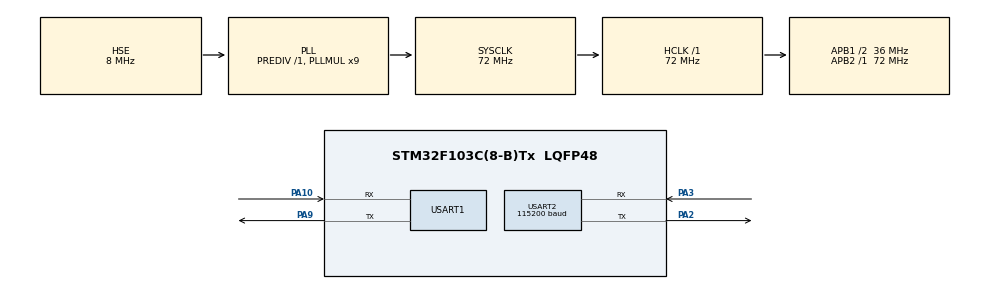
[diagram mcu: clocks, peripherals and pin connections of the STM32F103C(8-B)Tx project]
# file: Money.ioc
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Dma.Request0=USART1_RX
Dma.Request1=USART1_TX
Dma.Request2=USART2_TX
Dma.Request3=USART2_RX
Dma.USART1_RX.0.Direction=DMA_PERIPH_TO_MEMORY
Dma.USART1_RX.0.Instance=DMA1_Channel5
Dma.USART1_RX.0.MemDataAlignment=DMA_MDATAALIGN_BYTE
Dma.USART1_RX.0.MemInc=DMA_MINC_ENABLE
Dma.USART1_RX.0.Mode=DMA_CIRCULAR
Dma.USART1_RX.0.PeriphDataAlignment=DMA_PDATAALIGN_BYTE
Dma.USART1_RX.0.PeriphInc=DMA_PINC_DISABLE
Dma.USART1_RX.0.Priority=DMA_PRIORITY_LOW
Dma.USART1_TX.1.Direction=DMA_MEMORY_TO_PERIPH
Dma.USART1_TX.1.Instance=DMA1_Channel4
Dma.USART1_TX.1.MemDataAlignment=DMA_MDATAALIGN_BYTE
Dma.USART1_TX.1.MemInc=DMA_MINC_ENABLE
Dma.USART1_TX.1.Mode=DMA_CIRCULAR
Dma.USART1_TX.1.PeriphDataAlignment=DMA_PDATAALIGN_BYTE
Dma.USART1_TX.1.PeriphInc=DMA_PINC_DISABLE
Dma.USART1_TX.1.Priority=DMA_PRIORITY_LOW
Dma.USART2_RX.3.Direction=DMA_PERIPH_TO_MEMORY
Dma.USART2_RX.3.Instance=DMA1_Channel6
Dma.USART2_RX.3.MemDataAlignment=DMA_MDATAALIGN_BYTE
Dma.USART2_RX.3.MemInc=DMA_MINC_ENABLE
Dma.USART2_RX.3.Mode=DMA_CIRCULAR
Dma.USART2_RX.3.PeriphDataAlignment=DMA_PDATAALIGN_BYTE
Dma.USART2_RX.3.PeriphInc=DMA_PINC_DISABLE
Dma.USART2_RX.3.Priority=DMA_PRIORITY_LOW
Dma.USART2_TX.2.Direction=DMA_MEMORY_TO_PERIPH
Dma.USART2_TX.2.Instance=DMA1_Channel7
Dma.USART2_TX.2.MemDataAlignment=DMA_MDATAALIGN_BYTE
Dma.USART2_TX.2.MemInc=DMA_MINC_ENABLE
Dma.USART2_TX.2.Mode=DMA_CIRCULAR
Dma.USART2_TX.2.PeriphDataAlignment=DMA_PDATAALIGN_BYTE
Dma.USART2_TX.2.PeriphInc=DMA_PINC_DISABLE
Dma.USART2_TX.2.Priority=DMA_PRIORITY_LOW
Mcu.Family=STM32F1
Mcu.Name=STM32F103C(8-B)Tx
Mcu.Package=LQFP48
NVIC.DMA1_Channel4_IRQn=true\:2\:0\:true\:false\:true\:false\:true\:true
NVIC.DMA1_Channel5_IRQn=true\:3\:0\:true\:false\:true\:false\:true\:true
NVIC.DMA1_Channel6_IRQn=true\:2\:0\:true\:false\:true\:false\:true\:true
NVIC.DMA1_Channel7_IRQn=true\:3\:0\:true\:false\:true\:false\:true\:true
NVIC.PriorityGroup=NVIC_PRIORITYGROUP_4
NVIC.USART1_IRQn=true\:0\:0\:false\:false\:true\:true\:true\:true
NVIC.USART2_IRQn=true\:0\:0\:false\:false\:true\:true\:true\:true
PA10.GPIO_PuPd=GPIO_PULLUP
PA10.Mode=Asynchronous
PA10.Signal=USART1_RX
PA13.Mode=Serial_Wire
PA13.Signal=SYS_JTMS-SWDIO
PA14.Mode=Serial_Wire
PA14.Signal=SYS_JTCK-SWCLK
PA2.Mode=Asynchronous
PA2.Signal=USART2_TX
PA3.GPIO_PuPd=GPIO_PULLUP
PA3.Mode=Asynchronous
PA3.Signal=USART2_RX
PA9.Mode=Asynchronous
PA9.Signal=USART1_TX
PD0-OSC_IN.Mode=HSE-External-Oscillator
PD0-OSC_IN.Signal=RCC_OSC_IN
PD1-OSC_OUT.Mode=HSE-External-Oscillator
PD1-OSC_OUT.Signal=RCC_OSC_OUT
ProjectManager.HeapSize=0x200
ProjectManager.StackSize=0x400
ProjectManager.TargetToolchain=MDK-ARM V5.32
RCC.AHBFreq_Value=72000000
RCC.APB1CLKDivider=RCC_HCLK_DIV2
RCC.APB1Freq_Value=36000000
RCC.APB1TimFreq_Value=72000000
RCC.APB2Freq_Value=72000000
RCC.APB2TimFreq_Value=72000000
RCC.HCLKFreq_Value=72000000
RCC.PLLMUL=RCC_PLL_MUL9
RCC.PLLSourceVirtual=RCC_PLLSOURCE_HSE
RCC.SYSCLKFreq_VALUE=72000000
RCC.SYSCLKSource=RCC_SYSCLKSOURCE_PLLCLK
RCC.USBFreq_Value=72000000
USART1.VirtualMode=VM_ASYNC
USART2.BaudRate=115200
USART2.VirtualMode=VM_ASYNC
board=custom

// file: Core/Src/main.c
/* USER CODE BEGIN Header */
/**
 ******************************************************************************
 * @file           : main.c
 * @brief          : Main program body
 ******************************************************************************
 * @attention
 *
 * Copyright (c) 2025 STMicroelectronics.
 * All rights reserved.
 *
 * This software is licensed under terms that can be found in the LICENSE file
 * in the root directory of this software component.
 * If no LICENSE file comes with this software, it is provided AS-IS.
 *
 ******************************************************************************
 */
/* USER CODE END Header */
#include "main.h"

/* USER CODE BEGIN Includes */
#include "ano_protocol.h"
#include "mavlink_parser.h"
#include "protocol_bridge.h"

/* USER CODE END Includes */

UART_HandleTypeDef huart1;
UART_HandleTypeDef huart2;
DMA_HandleTypeDef hdma_usart1_rx;
DMA_HandleTypeDef hdma_usart1_tx;
DMA_HandleTypeDef hdma_usart2_tx;
DMA_HandleTypeDef hdma_usart2_rx;

/* USER CODE BEGIN PV */
/* MAVLINK Parser */
mavlink_parser_t mavlink_parser;
float global_height_cm = 0.0f;
/* DMA Receive Buffer for USART2 (MAVLINK input from optical flow sensor) */
uint8_t mavlink_rx_buffer[MAVLINK_RX_BUFFER_SIZE];
volatile uint16_t mavlink_rx_read_pos = 0;
volatile uint8_t a = 0;

/* Data ready flags */
volatile uint8_t optical_flow_data_ready = 0;
volatile uint8_t distance_data_ready = 0;
float current_height_cm = 0.0f;
/* USER CODE END PV */

void SystemClock_Config(void);
static void MX_GPIO_Init(void);
static void MX_DMA_Init(void);
static void MX_USART1_UART_Init(void);
static void MX_USART2_UART_Init(void);

int main(void) {

  /* MCU Configuration--------------------------------------------------------*/

  /* Reset of all peripherals, Initializes the Flash interface and the Systick.
   */
  HAL_Init();

  /* Configure the system clock */
  SystemClock_Config();

  /* Initialize all configured peripherals */
  MX_GPIO_Init();
  MX_DMA_Init();
  MX_USART1_UART_Init();
  MX_USART2_UART_Init();
  /* USER CODE BEGIN 2 */

  /* Initialize MAVLINK parser */
  mavlink_parser_init(&mavlink_parser);

  /* Start DMA reception with IDLE interrupt on USART2 */
  HAL_UARTEx_ReceiveToIdle_DMA(&huart2, mavlink_rx_buffer,
                               MAVLINK_RX_BUFFER_SIZE);
  /* Disable DMA Half Transfer interrupt (only use Transfer Complete + IDLE) */
  __HAL_DMA_DISABLE_IT(&hdma_usart2_rx, DMA_IT_HT);

  /* USER CODE END 2 */

  /* Infinite loop */
  while (1) {

    /* USER CODE BEGIN 3 */

    // ---------------------------------------------------------
    // 1. 异步接收测距数据 (仅更新变量，不发送)
    // ---------------------------------------------------------
    if (distance_data_ready) {
      mavlink_distance_sensor_t dist_msg;
      if (mavlink_get_distance(&mavlink_parser, &dist_msg)) {
        global_height_cm = (float)dist_msg.current_distance;
      }
      distance_data_ready = 0;
    }

    // ---------------------------------------------------------
    // 2. 接收到光流数据 -> 触发 DMA 发送
    // ---------------------------------------------------------
    if (optical_flow_data_ready) {
      mavlink_optical_flow_rad_t optical_flow;
      if (mavlink_get_optical_flow(&mavlink_parser, &optical_flow)) {

        // --- 数据准备 ---
        float use_height =
            (global_height_cm < 1e-5f) ? 1e-5f : global_height_cm;

        // --- 第一帧：测距帧 (0x34) ---
        ano_distance_data_t ano_dist_data;
        ano_dist_data.direction = 0;
        ano_dist_data.angle = 0;
        ano_dist_data.distance_cm = (uint32_t)use_height;

        // [修改1] 确保串口空闲，防止上一轮传输未结束
        // 注意：如果你系统的发送频率非常高，可能需要在这里加超时处理，防止死循环
        while (HAL_UART_GetState(&huart1) != HAL_UART_STATE_READY) {
          // 等待直到串口就绪
        }

        // [修改2] 使用 DMA 发送函数
        ano_send_distance_dma(&huart1, &ano_dist_data);

        // --- 第二帧：光流帧 (0x51) ---
        ano_optical_flow_mode1_t ano_flow;
        // 计算数据
        if (bridge_convert_optical_flow(&optical_flow, use_height, &ano_flow)) {

          // [修改3] 等待上一帧（测距帧）DMA 发送完成
          // 这一步至关重要，否则第二帧会因为串口忙碌（HAL_BUSY）而发送失败
          while (HAL_UART_GetState(&huart1) != HAL_UART_STATE_READY) {
            // 等待直到串口就绪
          }

          // [修改4] 使用 DMA 发送函数
          ano_send_optical_flow_mode1_dma(&huart1, &ano_flow);
        }
      }
      // 清除标志位
      optical_flow_data_ready = 0;
    }
  }
}

void SystemClock_Config(void) {
  RCC_OscInitTypeDef RCC_OscInitStruct = {0};
  RCC_ClkInitTypeDef RCC_ClkInitStruct = {0};

  /** Initializes the RCC Oscillators according to the specified parameters
   * in the RCC_OscInitTypeDef structure.
   */
  RCC_OscInitStruct.OscillatorType = RCC_OSCILLATORTYPE_HSE;
  RCC_OscInitStruct.HSEState = RCC_HSE_ON;
  RCC_OscInitStruct.HSEPredivValue = RCC_HSE_PREDIV_DIV1;
  RCC_OscInitStruct.HSIState = RCC_HSI_ON;
  RCC_OscInitStruct.PLL.PLLState = RCC_PLL_ON;
  RCC_OscInitStruct.PLL.PLLSource = RCC_PLLSOURCE_HSE;
  RCC_OscInitStruct.PLL.PLLMUL = RCC_PLL_MUL9;
  if (HAL_RCC_OscConfig(&RCC_OscInitStruct) != HAL_OK) {
    Error_Handler();
  }

  /** Initializes the CPU, AHB and APB buses clocks
   */
  RCC_ClkInitStruct.ClockType = RCC_CLOCKTYPE_HCLK | RCC_CLOCKTYPE_SYSCLK |
                                RCC_CLOCKTYPE_PCLK1 | RCC_CLOCKTYPE_PCLK2;
  RCC_ClkInitStruct.SYSCLKSource = RCC_SYSCLKSOURCE_PLLCLK;
  RCC_ClkInitStruct.AHBCLKDivider = RCC_SYSCLK_DIV1;
  RCC_ClkInitStruct.APB1CLKDivider = RCC_HCLK_DIV2;
  RCC_ClkInitStruct.APB2CLKDivider = RCC_HCLK_DIV1;

  if (HAL_RCC_ClockConfig(&RCC_ClkInitStruct, FLASH_LATENCY_2) != HAL_OK) {
    Error_Handler();
  }
}

static void MX_USART1_UART_Init(void) {

  huart1.Instance = USART1;
  huart1.Init.BaudRate = 115200;
  huart1.Init.WordLength = UART_WORDLENGTH_8B;
  huart1.Init.StopBits = UART_STOPBITS_1;
  huart1.Init.Parity = UART_PARITY_NONE;
  huart1.Init.Mode = UART_MODE_TX_RX;
  huart1.Init.HwFlowCtl = UART_HWCONTROL_NONE;
  huart1.Init.OverSampling = UART_OVERSAMPLING_16;
  if (HAL_UART_Init(&huart1) != HAL_OK) {
    Error_Handler();
  }
}

static void MX_USART2_UART_Init(void) {

  huart2.Instance = USART2;
  huart2.Init.BaudRate = 115200;
  huart2.Init.WordLength = UART_WORDLENGTH_8B;
  huart2.Init.StopBits = UART_STOPBITS_1;
  huart2.Init.Parity = UART_PARITY_NONE;
  huart2.Init.Mode = UART_MODE_TX_RX;
  huart2.Init.HwFlowCtl = UART_HWCONTROL_NONE;
  huart2.Init.OverSampling = UART_OVERSAMPLING_16;
  if (HAL_UART_Init(&huart2) != HAL_OK) {
    Error_Handler();
  }
}

static void MX_DMA_Init(void) {

  /* DMA controller clock enable */
  __HAL_RCC_DMA1_CLK_ENABLE();

  /* DMA interrupt init */
  /* DMA1_Channel4_IRQn interrupt configuration */
  HAL_NVIC_SetPriority(DMA1_Channel4_IRQn, 2, 0);
  HAL_NVIC_EnableIRQ(DMA1_Channel4_IRQn);
  /* DMA1_Channel5_IRQn interrupt configuration */
  HAL_NVIC_SetPriority(DMA1_Channel5_IRQn, 3, 0);
  HAL_NVIC_EnableIRQ(DMA1_Channel5_IRQn);
  /* DMA1_Channel6_IRQn interrupt configuration */
  HAL_NVIC_SetPriority(DMA1_Channel6_IRQn, 2, 0);
  HAL_NVIC_EnableIRQ(DMA1_Channel6_IRQn);
  /* DMA1_Channel7_IRQn interrupt configuration */
  HAL_NVIC_SetPriority(DMA1_Channel7_IRQn, 3, 0);
  HAL_NVIC_EnableIRQ(DMA1_Channel7_IRQn);
}

static void MX_GPIO_Init(void) {

  /* GPIO Ports Clock Enable */
  __HAL_RCC_GPIOD_CLK_ENABLE();
  __HAL_RCC_GPIOA_CLK_ENABLE();

}

/* USER CODE BEGIN 4 */

/**
 * @brief UART Rx Event callback (called on IDLE interrupt or DMA complete)
 * @param huart: UART handle
 * @param Size: Number of bytes received
 */
/* USER CODE BEGIN 4 */
void HAL_UARTEx_RxEventCallback(UART_HandleTypeDef *huart, uint16_t Size) {
  if (huart->Instance == USART2) {

    // 【修复代码】处理 DMA 传输完成时的 Size 边界问题
    // 如果 Size 等于缓冲区总长，说明 DMA 刚好填满一圈，此时写指针逻辑上回绕到
    // 0
    if (Size == MAVLINK_RX_BUFFER_SIZE) {
      Size = 0;
    }

    /* Process all new bytes in the circular buffer */
    while (mavlink_rx_read_pos != Size) {
      uint8_t byte = mavlink_rx_buffer[mavlink_rx_read_pos];
      mavlink_rx_read_pos = (mavlink_rx_read_pos + 1) % MAVLINK_RX_BUFFER_SIZE;

      /* Parse MAVLINK byte */
      mavlink_parse_char(&mavlink_parser, byte);
    }

    /* Set data ready flags */
    if (mavlink_parser.optical_flow_ready) {
      optical_flow_data_ready = 1;
    }
    if (mavlink_parser.distance_ready) {
      distance_data_ready = 1;
    }
  }
}
/* USER CODE END 4 */

/* USER CODE END 4 */

void Error_Handler(void) {
  /* USER CODE BEGIN Error_Handler_Debug */
  /* User can add his own implementation to report the HAL error return state
   */
  __disable_irq();
  while (1) {
  }
  /* USER CODE END Error_Handler_Debug */
}
#ifdef USE_FULL_ASSERT
/**
 * @brief  Reports the name of the source file and the source line number
 *         where the assert_param error has occurred.
 * @param  file: pointer to the source file name
 * @param  line: assert_param error line source number
 * @retval None
 */
void assert_failed(uint8_t *file, uint32_t line) {
  /* USER CODE BEGIN 6 */
  /* User can add his own implementation to report the file name and line
     number, ex: printf("Wrong parameters value: file %s on line %d\r\n",
     file, line) */
  /* USER CODE END 6 */
}
#endif /* USE_FULL_ASSERT */
